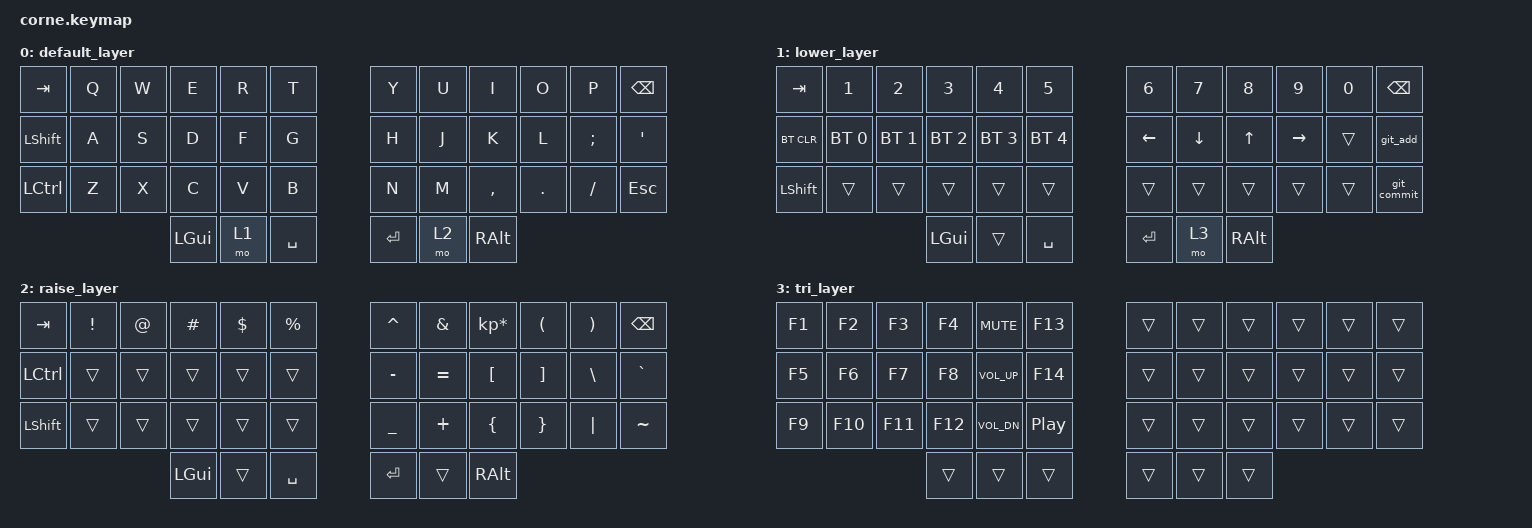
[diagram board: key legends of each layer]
/*
 * Copyright (c) 2020 The ZMK Contributors
 *
 * SPDX-License-Identifier: MIT
 */

#include <behaviors.dtsi>
#include <dt-bindings/zmk/bt.h>
#include <dt-bindings/zmk/keys.h>

/ {
    macros {
        git_add: git_add {
            compatible = "zmk,behavior-macro";
            label = "GIT_ADD";
            #binding-cells = <0>;
            bindings = <&kp G &kp I &kp T &kp SPACE &kp A &kp D &kp D &kp SPACE &kp DOT>;
        };
        git_commit: git_commit {
            compatible = "zmk,behavior-macro";
            label = "GIT_COMMIT";
            #binding-cells = <0>;
            bindings = <&kp G &kp I &kp T &kp SPACE &kp C &kp O &kp M &kp M &kp I &kp T &kp SPACE &kp MINUS &kp M &kp SPACE>;
        };
    };

    keymap {
        compatible = "zmk,keymap";

        default_layer {
            // -----------------------------------------------------------------------------------------
            // |  TAB |  Q  |  W  |  E  |  R  |  T  |   |  Y  |  U   |  I  |  O  |  P  | BKSP |
            // | CTRL |  A  |  S  |  D  |  F  |  G  |   |  H  |  J   |  K  |  L  |  ;  |  '   |
            // | SHFT |  Z  |  X  |  C  |  V  |  B  |   |  N  |  M   |  ,  |  .  |  /  | ESC  |
            //                    | GUI | LWR | SPC |   | ENT | RSE  | ALT |

            bindings = <
         &kp TAB  &kp Q  &kp W     &kp E  &kp R      &kp T      &kp Y  &kp U      &kp I    &kp O     &kp P  &kp BSPC
      &kp LSHIFT  &kp A  &kp S     &kp D  &kp F      &kp G      &kp H  &kp J      &kp K    &kp L  &kp SEMI   &kp SQT
&kp LEFT_CONTROL  &kp Z  &kp X     &kp C  &kp V      &kp B      &kp N  &kp M  &kp COMMA  &kp DOT  &kp FSLH   &kp ESC
                                &kp LGUI  &mo 1  &kp SPACE    &kp RET  &mo 2   &kp RALT
            >;
        };

        lower_layer {
            // -----------------------------------------------------------------------------------------
            // |  TAB |  1  |  2  |  3  |  4  |  5  |   |  6  |  7  |  8  |  9  |  0  | BKSP |
            // | BTCLR| BT1 | BT2 | BT3 | BT4 | BT5 |   | LFT | DWN |  UP | RGT |     |      |
            // | SHFT |     |     |     |     |     |   |     |     |     |     |     |      |
            //                    | GUI |     | SPC |   | ENT |     | ALT |

            bindings = <
   &kp TAB        &kp N1        &kp N2        &kp N3        &kp N4        &kp N5      &kp N6    &kp N7    &kp N8     &kp N9  &kp N0     &kp BSPC
&bt BT_CLR  &bt BT_SEL 0  &bt BT_SEL 1  &bt BT_SEL 2  &bt BT_SEL 3  &bt BT_SEL 4    &kp LEFT  &kp DOWN    &kp UP  &kp RIGHT  &trans     &git_add
 &kp LSHFT        &trans        &trans        &trans        &trans        &trans      &trans    &trans    &trans     &trans  &trans  &git_commit
                                            &kp LGUI        &trans     &kp SPACE     &kp RET     &mo 3  &kp RALT
            >;
        };

        raise_layer {
            // -----------------------------------------------------------------------------------------
            // |  TAB |  !  |  @  |  #  |  $  |  %  |   |  ^  |  &  |  *  |  (  |  )  | BKSP |
            // | CTRL |     |     |     |     |     |   |  -  |  =  |  [  |  ]  |  \  |  `   |
            // | SHFT |     |     |     |     |     |   |  _  |  +  |  {  |  }  | "|" |  ~   |
            //                    | GUI |     | SPC |   | ENT |     | ALT |

            bindings = <
  &kp TAB  &kp EXCL  &kp AT  &kp HASH  &kp DLLR  &kp PRCNT    &kp CARET   &kp AMPS  &kp KP_MULTIPLY  &kp LPAR  &kp RPAR   &kp BSPC
&kp LCTRL    &trans  &trans    &trans    &trans     &trans    &kp MINUS  &kp EQUAL         &kp LBKT  &kp RBKT  &kp BSLH  &kp GRAVE
&kp LSHFT    &trans  &trans    &trans    &trans     &trans    &kp UNDER   &kp PLUS         &kp LBRC  &kp RBRC  &kp PIPE  &kp TILDE
                             &kp LGUI    &trans  &kp SPACE      &kp RET     &trans         &kp RALT
            >;
        };

        tri_layer {
            bindings = <
&kp F1   &kp F2   &kp F3   &kp F4    &kp C_MUTE           &kp F13    &trans  &trans  &trans  &trans  &trans  &trans
&kp F5   &kp F6   &kp F7   &kp F8  &kp C_VOL_UP           &kp F14    &trans  &trans  &trans  &trans  &trans  &trans
&kp F9  &kp F10  &kp F11  &kp F12  &kp C_VOL_DN  &kp C_PLAY_PAUSE    &trans  &trans  &trans  &trans  &trans  &trans
                           &trans        &trans            &trans    &trans  &trans  &trans
            >;
        };
    };
};
